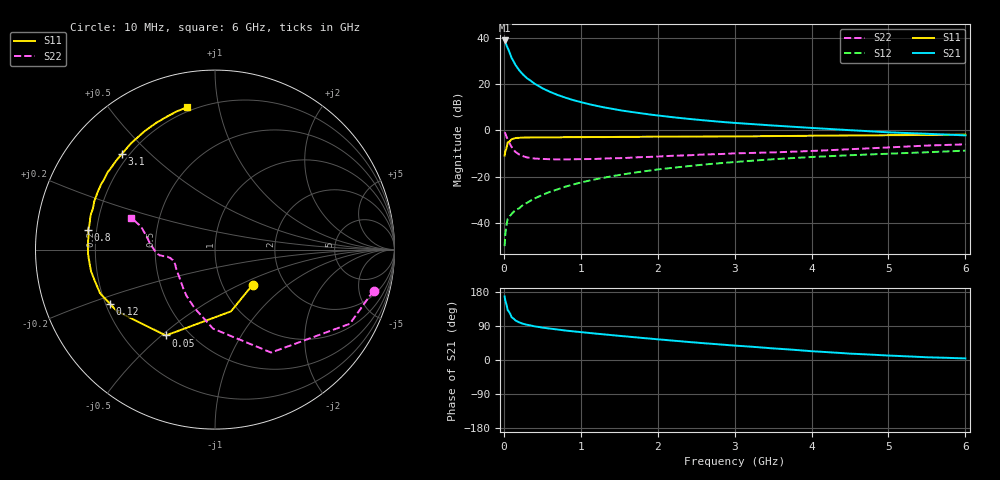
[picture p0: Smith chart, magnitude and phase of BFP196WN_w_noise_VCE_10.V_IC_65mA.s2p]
! Infineon Technologies  Discrete & RF Semiconductors
! BFP196WN
! VCE =  10. V,  IC =  65 mA
! Common Emitter S-Parameters:  Jan 2017
# GHz  S  MA  R  50
!  f  S11  S21  S12  S22
! GHz  MAG  ANG  MAG  ANG  MAG  ANG  MAG  ANG
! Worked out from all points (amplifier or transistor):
!   77 points, 10 MHz to 6 GHz, reference 50 ohm
!   highest |S21| = 38.8 dB at 10 MHz (marker M1)
!   |S21| within 3 dB of that: start of sweep to 46.45 MHz
!   unconditionally stable (mu >= 1): 604.2 MHz to 2.613 GHz
!   at 130 MHz: K = 0.57, MSG = 32.3 dB, |S12| = -35.0 dB
!   at 2.2 GHz: K = 1.02, MAG = 10.0 dB, |S12| = -16.1 dB
!   at 6 GHz: K = 0.90, MSG = 3.3 dB, |S12| = -8.7 dB
!   lowest NFmin = 1.43 dB at 450 MHz
!   S11 on the Smith chart (normalised r, x): 10 MHz: 1.39, -0.59; 50 MHz: 0.38, -0.52; 120 MHz: 0.22, -0.23; 800 MHz: 0.17, +0.08; 3.1 GHz: 0.17, +0.41; 6 GHz: 0.18, +0.81
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0.01  0.2869 -42.8  86.7 167.8  0.0032 75.4  0.9125 -14.5
0.02  0.3555 -75.5  79.23 155.9  0.006 76.0  0.8576 -28.8
0.05  0.5514 -119.8  59.61 131.6  0.0124 56.3  0.6532 -61.4
0.1  0.6451 -147.8  36.55 113.0  0.0157 49.5  0.4406 -91.4
0.12  0.6579 -152.5  32.18 110.2  0.0171 50.2  0.398 -97.5
0.15  0.6851 -159.2  25.83 104.4  0.0191 51.0  0.3451 -109.3
0.2  0.6925 -165.7  19.72 99.2  0.021 52.6  0.303 -121.5
0.25  0.7007 -169.9  15.94 95.6  0.0249 56.1  0.2782 -129.6
0.3  0.7027 -173.3  13.36 93.0  0.0274 59.3  0.2613 -136.5
0.4  0.7076 -177.9  10.12 88.7  0.034 63.1  0.2476 -145.2
0.5  0.7082 178.7  8.103 85.6  0.0406 65.3  0.2427 -151.4
0.6  0.7086 175.9  6.773 82.8  0.0475 67.0  0.2394 -155.9
0.7  0.709 173.6  5.798 80.4  0.0537 67.8  0.2369 -158.8
0.8  0.7147 171.1  5.079 77.8  0.0613 69.0  0.2369 -160.7
0.9  0.7133 169.1  4.508 75.6  0.0681 68.9  0.239 -162.6
1.1  0.7181 165.3  3.703 71.6  0.082 68.9  0.2412 -165.7
1.5  0.7243 158.5  2.737 63.8  0.1094 67.5  0.2523 -169.5
2.1  0.7312 148.9  2.008 52.9  0.1502 63.9  0.2787 -172.2
3.1  0.7442 134.0  1.413 36.7  0.2141 56.1  0.3229 -176.3
4.1  0.7686 119.8  1.105 22.0  0.2717 47.8  0.3664 173.9
5.1  0.7896 109.0  0.895 10.9  0.319 40.3  0.4373 162.5
6  0.8083 101.1  0.781 4.2  0.3662 34.3  0.5006 159.6
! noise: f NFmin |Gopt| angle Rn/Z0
0.45  1.43  0.56  -176  0.05
0.9  1.55  0.58  -169  0.06
1.9  2.48  0.69  -147  0.18
2.4  3.26  0.7  -139  0.31
